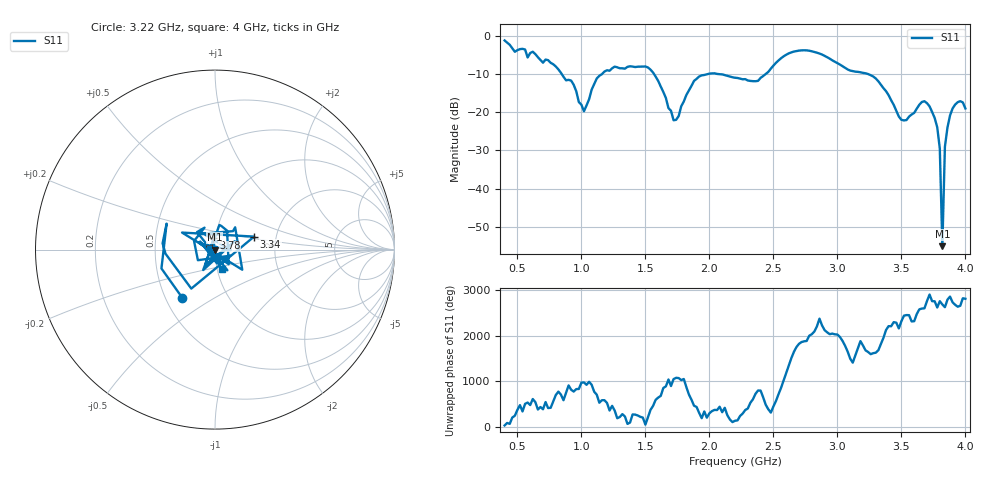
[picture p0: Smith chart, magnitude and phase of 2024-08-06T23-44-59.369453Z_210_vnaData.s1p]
!Created with skrf (http://scikit-rf.org).
# Hz S RI R 50.0
!freq ReS11 ImS11
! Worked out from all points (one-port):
!   181 points, 400 MHz to 4 GHz, reference 50 ohm
!   lowest |S11| = -55.1 dB at 3.82 GHz (marker M1), VSWR 1.00, Z = 49.8 + j0.0462 ohm
!   |S11| at or under -10 dB: 1.567 GHz to 1.988 GHz (420.7 MHz wide, 23.7 % of centre); 2.071 GHz to 2.44 GHz (368.8 MHz wide, 16.4 % of centre); 3.24 GHz to end of sweep (the widest 3 of 4)
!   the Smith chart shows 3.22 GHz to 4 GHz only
!   S11 on the Smith chart (normalised r, x): 3.22 GHz: 0.61, -0.36; 3.34 GHz: 1.54, +0.23; 3.78 GHz: 0.97, +0.12; 4 GHz: 1.05, -0.23
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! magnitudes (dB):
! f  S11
! 400 MHz  -1.2
! 740 MHz  -6.4
! 860 MHz  -10.7
! 940 MHz  -12.8
! 1.02 GHz  -19.7
! 1.12 GHz  -11.1
! 1.3 GHz  -8.5
! 1.52 GHz  -8.3
! 1.6 GHz  -11.8
! 1.72 GHz  -22.1
! 1.76 GHz  -21.0
! 1.92 GHz  -10.6
! 2.2 GHz  -11.0
! 2.38 GHz  -11.8
! 2.66 GHz  -4.1
! 3.1 GHz  -9.1
! 3.22 GHz  -9.8
! 3.34 GHz  -12.8
! 3.5 GHz  -22.0
! 3.56 GHz  -21.1
! 3.68 GHz  -17.1
! 3.78 GHz  -23.9
! 3.8 GHz  -29.5
! 3.82 GHz  -55.1
! 3.84 GHz  -29.0
! 3.86 GHz  -24.0
! 3.92 GHz  -18.0
! 4 GHz  -19.0
